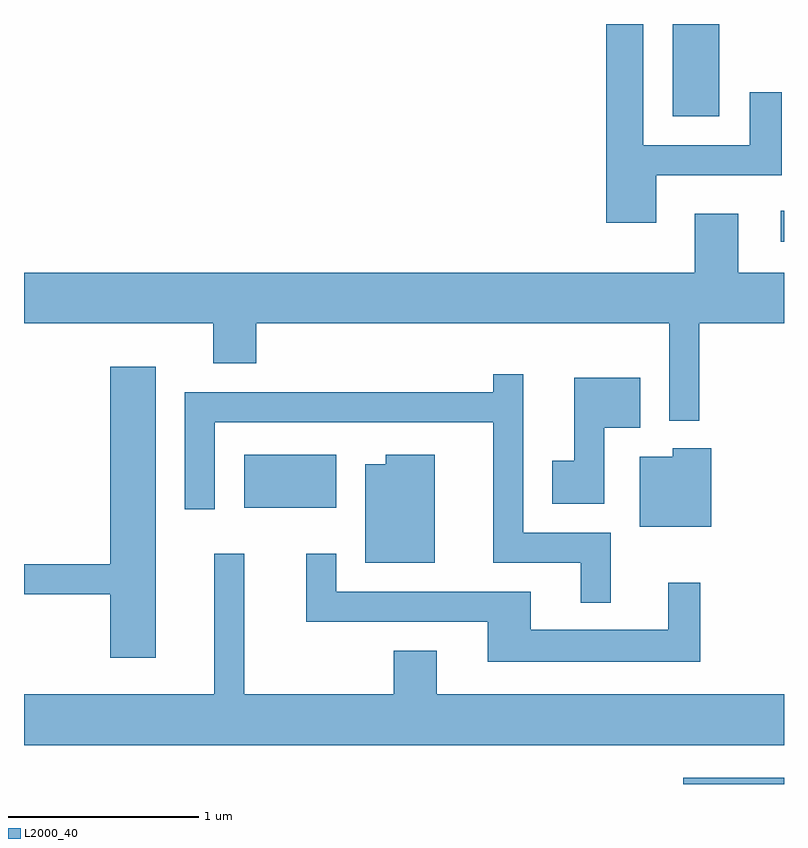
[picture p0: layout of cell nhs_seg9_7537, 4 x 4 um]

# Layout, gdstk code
import gdstk
lib = gdstk.Library(unit=1e-6, precision=1e-09)
def R(c, l, rs):  # rectangles x0, y0, x1, y1
    for r in rs: c.add(gdstk.rectangle(r[:2], r[2:], *l))
def P(c, l, *ps):  # polygons
    for p in ps: c.add(gdstk.Polygon(p, *l))
L2000_40 = (2000, 40)

nhs_seg9_7537 = lib.new_cell('nhs_seg9_7537')
R(nhs_seg9_7537, L2000_40, [(411.081,2060.432,411.611,2060.464), (408.771,2061.886,409.254,2062.164), (411.593,2063.286,411.611,2063.449), (411.026,2063.946,411.269,2064.432)])
P(nhs_seg9_7537, L2000_40, [(410.939,2063.636),(411.599,2063.636),(411.599,2064.073),(411.431,2064.073),(411.431,2063.794),(410.869,2063.794),(410.869,2064.432),(410.676,2064.432),(410.676,2063.386),(410.939,2063.386)],
  [(411.164,2062.856),(411.611,2062.856),(411.611,2063.124),(411.369,2063.124),(411.369,2063.434),(411.141,2063.434),(411.141,2063.124),(407.611,2063.124),(407.611,2062.856),(408.606,2062.856),(408.606,2062.646),(408.834,2062.646),(408.834,2062.856),(411.006,2062.856),(411.006,2062.343),(411.164,2062.343)],
  [(408.304,2062.629),(408.066,2062.629),(408.066,2061.589),(407.611,2061.589),(407.611,2061.431),(408.066,2061.431),(408.066,2061.096),(408.304,2061.096)],
  [(410.699,2061.754),(410.239,2061.754),(410.239,2062.588),(410.081,2062.588),(410.081,2062.494),(408.456,2062.494),(408.456,2061.878),(408.614,2061.878),(408.614,2062.336),(410.081,2062.336),(410.081,2061.596),(410.541,2061.596),(410.541,2061.387),(410.699,2061.387)],
  [(410.664,2062.306),(410.854,2062.306),(410.854,2062.569),(410.506,2062.569),(410.506,2062.134),(410.391,2062.134),(410.391,2061.906),(410.664,2061.906)],
  [(411.229,2062.199),(411.026,2062.199),(411.026,2062.154),(410.851,2062.154),(410.851,2061.786),(411.229,2061.786)],
  [(409.774,2062.164),(409.516,2062.164),(409.516,2062.114),(409.406,2062.114),(409.406,2061.596),(409.774,2061.596)],
  [(411.611,2060.904),(409.784,2060.904),(409.784,2061.134),(409.556,2061.134),(409.556,2060.904),(408.769,2060.904),(408.769,2061.643),(408.611,2061.643),(408.611,2060.904),(407.611,2060.904),(407.611,2060.636),(411.611,2060.636)],
  [(411.169,2061.492),(411.001,2061.492),(411.001,2061.244),(410.279,2061.244),(410.279,2061.444),(409.254,2061.444),(409.254,2061.643),(409.096,2061.643),(409.096,2061.286),(410.051,2061.286),(410.051,2061.076),(411.169,2061.076)])

lib.write_gds('nhs_seg9_7537.gds')
